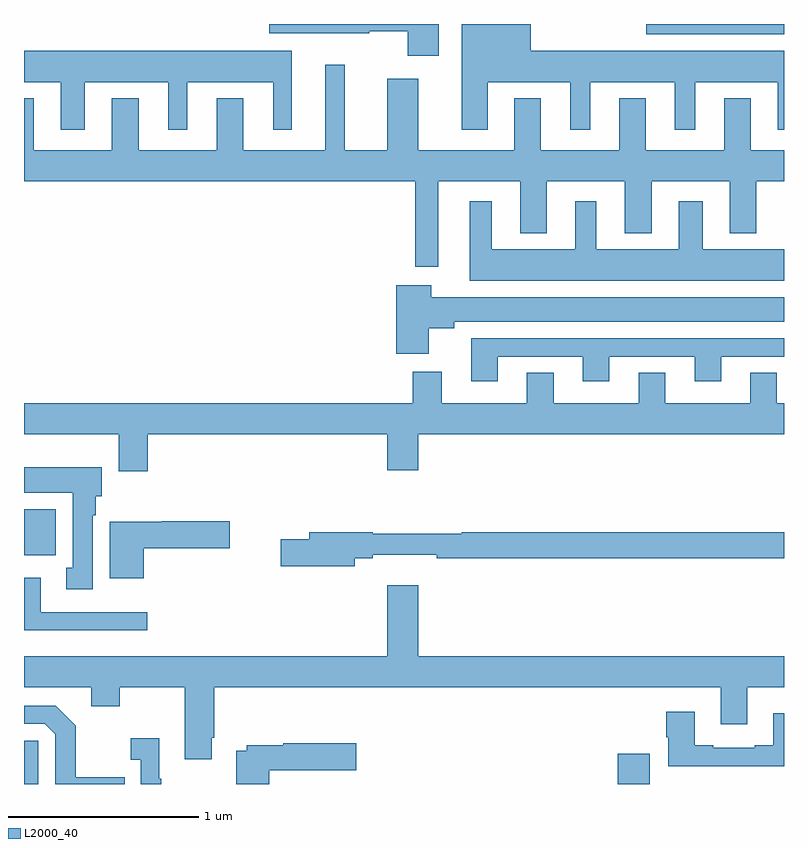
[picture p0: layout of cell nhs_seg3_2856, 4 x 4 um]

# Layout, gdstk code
import gdstk
lib = gdstk.Library(unit=1e-6, precision=1e-09)
def R(c, l, rs):  # rectangles x0, y0, x1, y1
    for r in rs: c.add(gdstk.rectangle(r[:2], r[2:], *l))
def P(c, l, *ps):  # polygons
    for p in ps: c.add(gdstk.Polygon(p, *l))
L2000_40 = (2000, 40)

nhs_seg3_2856 = lib.new_cell('nhs_seg3_2856')
R(nhs_seg3_2856, L2000_40, [(259,708.4,259.074,708.627), (262.124,708.4,262.294,708.559), (259,709.604,259.168,709.846), (262.275,712.346,263,712.4)])
P(nhs_seg3_2856, L2000_40, [(261.184,712.4),(260.291,712.4),(260.291,712.352),(260.818,712.352),(260.818,712.363),(261.019,712.363),(261.019,712.233),(261.184,712.233)],
  [(261.442,712.094),(261.875,712.094),(261.875,711.843),(261.979,711.843),(261.979,712.094),(262.424,712.094),(262.424,711.843),(262.534,711.843),(262.534,712.094),(262.967,712.094),(262.967,711.843),(263,711.843),(263,712.258),(261.667,712.258),(261.667,712.4),(261.305,712.4),(261.305,711.843),(261.442,711.843)],
  [(259.321,712.094),(259.76,712.094),(259.76,711.843),(259.858,711.843),(259.858,712.094),(260.312,712.094),(260.312,711.843),(260.41,711.843),(260.41,712.258),(259,712.258),(259,712.094),(259.193,712.094),(259.193,711.843),(259.321,711.843)],
  [(261.181,711.572),(261.611,711.572),(261.611,711.299),(261.751,711.299),(261.751,711.572),(262.163,711.572),(262.163,711.299),(262.303,711.299),(262.303,711.572),(262.715,711.572),(262.715,711.299),(262.855,711.299),(262.855,711.572),(263,711.572),(263,711.736),(262.825,711.736),(262.825,712.009),(262.685,712.009),(262.685,711.736),(262.273,711.736),(262.273,712.009),(262.133,712.009),(262.133,711.736),(261.721,711.736),(261.721,712.009),(261.581,712.009),(261.581,711.736),(261.076,711.736),(261.076,712.111),(260.912,712.111),(260.912,711.736),(260.689,711.736),(260.689,712.186),(260.585,712.186),(260.585,711.736),(260.155,711.736),(260.155,712.009),(260.015,712.009),(260.015,711.736),(259.603,711.736),(259.603,712.009),(259.463,712.009),(259.463,711.736),(259.051,711.736),(259.051,712.009),(259,712.009),(259,711.572),(261.06,711.572),(261.06,711.123),(261.181,711.123)],
  [(263,711.214),(262.573,711.214),(262.573,711.466),(262.445,711.466),(262.445,711.214),(262.012,711.214),(262.012,711.466),(261.902,711.466),(261.902,711.214),(261.463,711.214),(261.463,711.466),(261.347,711.466),(261.347,711.05),(263,711.05)],
  [(261.13,710.798),(261.265,710.798),(261.265,710.834),(263,710.834),(263,710.962),(261.143,710.962),(261.143,711.025),(260.96,711.025),(260.96,710.664),(261.13,710.664)],
  [(261.493,710.649),(261.941,710.649),(261.941,710.52),(262.081,710.52),(262.081,710.649),(262.529,710.649),(262.529,710.52),(262.669,710.52),(262.669,710.649),(263,710.649),(263,710.745),(261.353,710.745),(261.353,710.52),(261.493,710.52)],
  [(259.652,710.24),(260.912,710.24),(260.912,710.052),(261.076,710.052),(261.076,710.24),(263,710.24),(263,710.404),(262.963,710.404),(262.963,710.564),(262.823,710.564),(262.823,710.404),(262.375,710.404),(262.375,710.564),(262.235,710.564),(262.235,710.404),(261.787,710.404),(261.787,710.564),(261.647,710.564),(261.647,710.404),(261.199,710.404),(261.199,710.569),(261.047,710.569),(261.047,710.404),(259,710.404),(259,710.24),(259.499,710.24),(259.499,710.046),(259.652,710.046)],
  [(259.363,709.814),(259.378,709.814),(259.378,709.914),(259.408,709.914),(259.408,710.068),(259,710.068),(259,709.934),(259.256,709.934),(259.256,709.538),(259.223,709.538),(259.223,709.425),(259.363,709.425)],
  [(259.63,709.64),(260.083,709.64),(260.083,709.782),(259.726,709.782),(259.726,709.78),(259.451,709.78),(259.451,709.484),(259.63,709.484)],
  [(260.74,709.588),(260.836,709.588),(260.836,709.607),(261.172,709.607),(261.172,709.588),(263,709.588),(263,709.724),(261.305,709.724),(261.305,709.717),(260.836,709.717),(260.836,709.724),(260.501,709.724),(260.501,709.688),(260.352,709.688),(260.352,709.546),(260.74,709.546)],
  [(259.648,709.305),(259.087,709.305),(259.087,709.486),(259,709.486),(259,709.208),(259.648,709.208)],
  [(259.987,708.643),(260,708.643),(260,708.908),(262.667,708.908),(262.667,708.714),(262.807,708.714),(262.807,708.908),(263,708.908),(263,709.072),(261.076,709.072),(261.076,709.447),(260.912,709.447),(260.912,709.072),(259,709.072),(259,708.908),(259.355,708.908),(259.355,708.809),(259.503,708.809),(259.503,708.908),(259.847,708.908),(259.847,708.531),(259.987,708.531)],
  [(259.529,708.435),(259.273,708.435),(259.273,708.707),(259.167,708.813),(259,708.813),(259,708.717),(259.11,708.717),(259.164,708.663),(259.164,708.4),(259.529,708.4)],
  [(263,708.772),(262.943,708.772),(262.943,708.604),(262.847,708.604),(262.847,708.591),(262.627,708.591),(262.627,708.604),(262.531,708.604),(262.531,708.781),(262.379,708.781),(262.379,708.646),(262.391,708.646),(262.391,708.494),(263,708.494)],
  [(259.723,708.427),(259.711,708.427),(259.711,708.64),(259.563,708.64),(259.563,708.527),(259.614,708.527),(259.614,708.4),(259.723,708.4)],
  [(260.291,708.473),(260.749,708.473),(260.749,708.615),(260.364,708.615),(260.364,708.603),(260.172,708.603),(260.172,708.574),(260.116,708.574),(260.116,708.4),(260.291,708.4)])

lib.write_gds('nhs_seg3_2856.gds')
